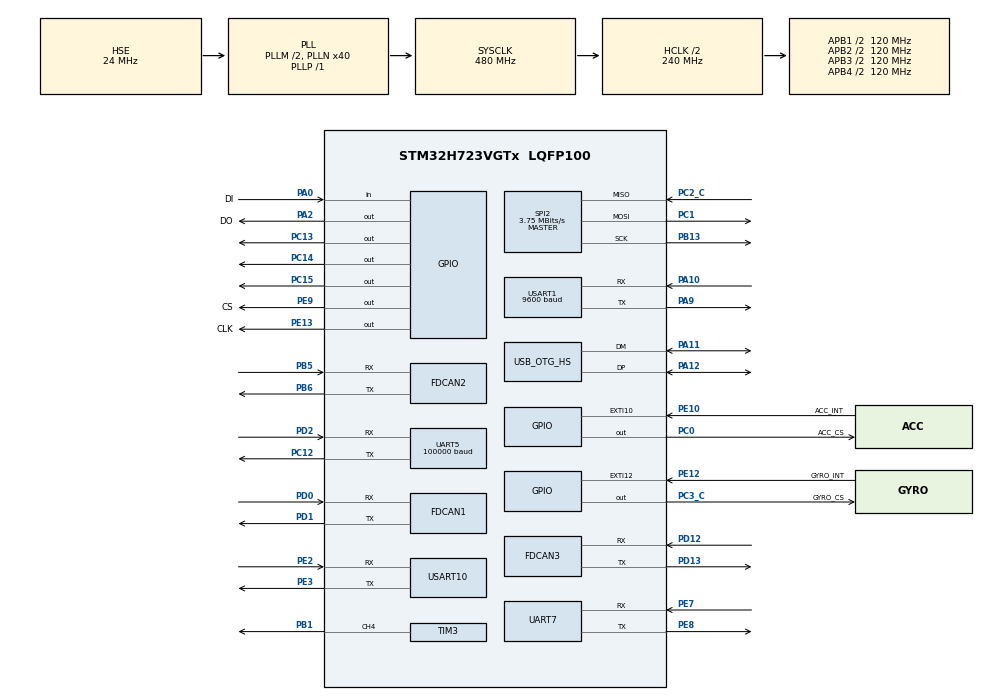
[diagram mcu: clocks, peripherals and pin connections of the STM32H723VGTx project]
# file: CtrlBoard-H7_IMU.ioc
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Dma.Request0=SPI2_RX
Dma.Request1=SPI2_TX
Dma.Request2=USART1_RX
Dma.Request3=USART1_TX
Dma.Request4=UART5_RX
Dma.Request5=UART7_RX
Dma.SPI2_RX.0.Direction=DMA_PERIPH_TO_MEMORY
Dma.SPI2_RX.0.EventEnable=DISABLE
Dma.SPI2_RX.0.FIFOMode=DMA_FIFOMODE_DISABLE
Dma.SPI2_RX.0.Instance=DMA1_Stream0
Dma.SPI2_RX.0.MemDataAlignment=DMA_MDATAALIGN_BYTE
Dma.SPI2_RX.0.MemInc=DMA_MINC_ENABLE
Dma.SPI2_RX.0.Mode=DMA_NORMAL
Dma.SPI2_RX.0.PeriphDataAlignment=DMA_PDATAALIGN_BYTE
Dma.SPI2_RX.0.PeriphInc=DMA_PINC_DISABLE
Dma.SPI2_RX.0.Polarity=HAL_DMAMUX_REQ_GEN_RISING
Dma.SPI2_RX.0.Priority=DMA_PRIORITY_VERY_HIGH
Dma.SPI2_RX.0.RequestNumber=1
Dma.SPI2_RX.0.SignalID=NONE
Dma.SPI2_RX.0.SyncEnable=DISABLE
Dma.SPI2_RX.0.SyncPolarity=HAL_DMAMUX_SYNC_NO_EVENT
Dma.SPI2_RX.0.SyncRequestNumber=1
Dma.SPI2_RX.0.SyncSignalID=NONE
Dma.SPI2_TX.1.Direction=DMA_MEMORY_TO_PERIPH
Dma.SPI2_TX.1.EventEnable=DISABLE
Dma.SPI2_TX.1.FIFOMode=DMA_FIFOMODE_DISABLE
Dma.SPI2_TX.1.Instance=DMA1_Stream1
Dma.SPI2_TX.1.MemDataAlignment=DMA_MDATAALIGN_BYTE
Dma.SPI2_TX.1.MemInc=DMA_MINC_ENABLE
Dma.SPI2_TX.1.Mode=DMA_NORMAL
Dma.SPI2_TX.1.PeriphDataAlignment=DMA_PDATAALIGN_BYTE
Dma.SPI2_TX.1.PeriphInc=DMA_PINC_DISABLE
Dma.SPI2_TX.1.Polarity=HAL_DMAMUX_REQ_GEN_RISING
Dma.SPI2_TX.1.Priority=DMA_PRIORITY_HIGH
Dma.SPI2_TX.1.RequestNumber=1
Dma.SPI2_TX.1.SignalID=NONE
Dma.SPI2_TX.1.SyncEnable=DISABLE
Dma.SPI2_TX.1.SyncPolarity=HAL_DMAMUX_SYNC_NO_EVENT
Dma.SPI2_TX.1.SyncRequestNumber=1
Dma.SPI2_TX.1.SyncSignalID=NONE
Dma.UART5_RX.4.Direction=DMA_PERIPH_TO_MEMORY
Dma.UART5_RX.4.EventEnable=DISABLE
Dma.UART5_RX.4.FIFOMode=DMA_FIFOMODE_DISABLE
Dma.UART5_RX.4.Instance=DMA1_Stream4
Dma.UART5_RX.4.MemDataAlignment=DMA_MDATAALIGN_BYTE
Dma.UART5_RX.4.MemInc=DMA_MINC_ENABLE
Dma.UART5_RX.4.Mode=DMA_NORMAL
Dma.UART5_RX.4.PeriphDataAlignment=DMA_PDATAALIGN_BYTE
Dma.UART5_RX.4.PeriphInc=DMA_PINC_DISABLE
Dma.UART5_RX.4.Polarity=HAL_DMAMUX_REQ_GEN_RISING
Dma.UART5_RX.4.Priority=DMA_PRIORITY_LOW
Dma.UART5_RX.4.RequestNumber=1
Dma.UART5_RX.4.SignalID=NONE
Dma.UART5_RX.4.SyncEnable=DISABLE
Dma.UART5_RX.4.SyncPolarity=HAL_DMAMUX_SYNC_NO_EVENT
Dma.UART5_RX.4.SyncRequestNumber=1
Dma.UART5_RX.4.SyncSignalID=NONE
Dma.UART7_RX.5.Direction=DMA_PERIPH_TO_MEMORY
Dma.UART7_RX.5.EventEnable=DISABLE
Dma.UART7_RX.5.FIFOMode=DMA_FIFOMODE_DISABLE
Dma.UART7_RX.5.Instance=DMA1_Stream5
Dma.UART7_RX.5.MemDataAlignment=DMA_MDATAALIGN_BYTE
Dma.UART7_RX.5.MemInc=DMA_MINC_ENABLE
Dma.UART7_RX.5.Mode=DMA_NORMAL
Dma.UART7_RX.5.PeriphDataAlignment=DMA_PDATAALIGN_BYTE
Dma.UART7_RX.5.PeriphInc=DMA_PINC_DISABLE
Dma.UART7_RX.5.Polarity=HAL_DMAMUX_REQ_GEN_RISING
Dma.UART7_RX.5.Priority=DMA_PRIORITY_LOW
Dma.UART7_RX.5.RequestNumber=1
Dma.UART7_RX.5.SignalID=NONE
Dma.UART7_RX.5.SyncEnable=DISABLE
Dma.UART7_RX.5.SyncPolarity=HAL_DMAMUX_SYNC_NO_EVENT
Dma.UART7_RX.5.SyncRequestNumber=1
Dma.UART7_RX.5.SyncSignalID=NONE
Dma.USART1_RX.2.Direction=DMA_PERIPH_TO_MEMORY
Dma.USART1_RX.2.EventEnable=DISABLE
Dma.USART1_RX.2.FIFOMode=DMA_FIFOMODE_DISABLE
Dma.USART1_RX.2.Instance=DMA1_Stream2
Dma.USART1_RX.2.MemDataAlignment=DMA_MDATAALIGN_BYTE
Dma.USART1_RX.2.MemInc=DMA_MINC_ENABLE
Dma.USART1_RX.2.Mode=DMA_NORMAL
Dma.USART1_RX.2.PeriphDataAlignment=DMA_PDATAALIGN_BYTE
Dma.USART1_RX.2.PeriphInc=DMA_PINC_DISABLE
Dma.USART1_RX.2.Polarity=HAL_DMAMUX_REQ_GEN_RISING
Dma.USART1_RX.2.Priority=DMA_PRIORITY_LOW
Dma.USART1_RX.2.RequestNumber=1
Dma.USART1_RX.2.SignalID=NONE
Dma.USART1_RX.2.SyncEnable=DISABLE
Dma.USART1_RX.2.SyncPolarity=HAL_DMAMUX_SYNC_NO_EVENT
Dma.USART1_RX.2.SyncRequestNumber=1
Dma.USART1_RX.2.SyncSignalID=NONE
Dma.USART1_TX.3.Direction=DMA_MEMORY_TO_PERIPH
Dma.USART1_TX.3.EventEnable=DISABLE
Dma.USART1_TX.3.FIFOMode=DMA_FIFOMODE_DISABLE
Dma.USART1_TX.3.Instance=DMA1_Stream3
Dma.USART1_TX.3.MemDataAlignment=DMA_MDATAALIGN_BYTE
Dma.USART1_TX.3.MemInc=DMA_MINC_ENABLE
Dma.USART1_TX.3.Mode=DMA_NORMAL
Dma.USART1_TX.3.PeriphDataAlignment=DMA_PDATAALIGN_BYTE
Dma.USART1_TX.3.PeriphInc=DMA_PINC_DISABLE
Dma.USART1_TX.3.Polarity=HAL_DMAMUX_REQ_GEN_RISING
Dma.USART1_TX.3.Priority=DMA_PRIORITY_LOW
Dma.USART1_TX.3.RequestNumber=1
Dma.USART1_TX.3.SignalID=NONE
Dma.USART1_TX.3.SyncEnable=DISABLE
Dma.USART1_TX.3.SyncPolarity=HAL_DMAMUX_SYNC_NO_EVENT
Dma.USART1_TX.3.SyncRequestNumber=1
Dma.USART1_TX.3.SyncSignalID=NONE
FDCAN1.CalculateBaudRateNominal=1000000
FDCAN1.CalculateTimeBitNominal=1000
FDCAN1.CalculateTimeQuantumNominal=40.0
FDCAN1.DataPrescaler=4
FDCAN1.DataTimeSeg1=19
FDCAN1.DataTimeSeg2=5
FDCAN1.ExtFiltersNbr=5
FDCAN1.NominalPrescaler=4
FDCAN1.NominalTimeSeg1=19
FDCAN1.NominalTimeSeg2=5
FDCAN1.RxFifo0ElmtSize=FDCAN_DATA_BYTES_24
FDCAN1.RxFifo0ElmtsNbr=4
FDCAN1.RxFifo1ElmtSize=FDCAN_DATA_BYTES_24
FDCAN1.StdFiltersNbr=5
FDCAN1.TxElmtSize=FDCAN_DATA_BYTES_24
FDCAN1.TxFifoQueueElmtsNbr=8
FDCAN2.CalculateBaudRateNominal=1000000
FDCAN2.CalculateTimeBitNominal=1000
FDCAN2.CalculateTimeQuantumNominal=50.0
FDCAN2.DataPrescaler=5
FDCAN2.DataTimeSeg1=14
FDCAN2.DataTimeSeg2=5
FDCAN2.ExtFiltersNbr=5
FDCAN2.MessageRAMOffset=854
FDCAN2.NominalPrescaler=5
FDCAN2.NominalTimeSeg1=14
FDCAN2.NominalTimeSeg2=5
FDCAN2.RxFifo1ElmtSize=FDCAN_DATA_BYTES_24
FDCAN2.RxFifo1ElmtsNbr=4
FDCAN2.StdFiltersNbr=5
FDCAN2.TxElmtSize=FDCAN_DATA_BYTES_16
FDCAN2.TxFifoQueueElmtsNbr=4
FDCAN3.CalculateBaudRateNominal=1000000
FDCAN3.CalculateTimeBitNominal=1000
FDCAN3.CalculateTimeQuantumNominal=50.0
FDCAN3.DataPrescaler=5
FDCAN3.DataTimeSeg1=14
FDCAN3.DataTimeSeg2=5
FDCAN3.ExtFiltersNbr=5
FDCAN3.MessageRAMOffset=1709
FDCAN3.NominalPrescaler=5
FDCAN3.NominalTimeSeg1=14
FDCAN3.NominalTimeSeg2=5
FDCAN3.RxFifo0ElmtsNbr=2
FDCAN3.StdFiltersNbr=5
FDCAN3.TxFifoQueueElmtsNbr=3
FREERTOS.MEMORY_ALLOCATION=0
FREERTOS.Tasks01=defaultTask,0,128,StartDefaultTask,Default,NULL,Dynamic,NULL,NULL;INS_TASK,3,512,INS_Task,Default,NULL,Dynamic,NULL,NULL;CHASSISR_TASK,1,512,ChassisR_Task,Default,NULL,Dynamic,NULL,NULL
FREERTOS.configENABLE_FPU=1
FREERTOS.configTOTAL_HEAP_SIZE=30720
Mcu.Family=STM32H7
Mcu.Name=STM32H723VGTx
Mcu.Package=LQFP100
NVIC.DMA1_Stream0_IRQn=true\:6\:0\:true\:false\:true\:true\:false\:true\:true
NVIC.DMA1_Stream1_IRQn=true\:6\:0\:true\:false\:true\:true\:false\:true\:true
NVIC.DMA1_Stream2_IRQn=true\:5\:0\:false\:false\:true\:true\:false\:true\:true
NVIC.DMA1_Stream3_IRQn=true\:5\:0\:false\:false\:true\:true\:false\:true\:true
NVIC.DMA1_Stream4_IRQn=true\:5\:0\:false\:false\:true\:true\:false\:true\:true
NVIC.DMA1_Stream5_IRQn=true\:5\:0\:false\:false\:true\:true\:false\:true\:true
NVIC.FDCAN1_IT0_IRQn=true\:6\:0\:true\:false\:true\:true\:true\:true\:true
NVIC.FDCAN2_IT0_IRQn=true\:5\:0\:true\:false\:true\:true\:true\:true\:true
NVIC.FDCAN3_IT0_IRQn=true\:5\:0\:false\:false\:true\:true\:true\:true\:true
NVIC.OTG_HS_IRQn=true\:5\:0\:false\:false\:true\:true\:true\:true\:true
NVIC.PriorityGroup=NVIC_PRIORITYGROUP_4
NVIC.SPI2_IRQn=true\:5\:0\:true\:false\:true\:true\:false\:true\:true
NVIC.TIM2_IRQn=true\:15\:0\:false\:false\:true\:false\:false\:true\:true
NVIC.TimeBase=TIM2_IRQn
NVIC.TimeBaseIP=TIM2
NVIC.UART5_IRQn=true\:5\:0\:true\:false\:true\:true\:true\:true\:true
NVIC.UART7_IRQn=true\:5\:0\:false\:false\:true\:true\:true\:true\:true
NVIC.USART1_IRQn=true\:5\:0\:false\:false\:true\:true\:true\:true\:true
PA0.GPIO_Label=DI
PA0.GPIO_PuPd=GPIO_PULLUP
PA0.Signal=GPIO_Input
PA10.Mode=Asynchronous
PA10.Signal=USART1_RX
PA11.Mode=Device_Only_FS
PA11.Signal=USB_OTG_HS_DM
PA12.Mode=Device_Only_FS
PA12.Signal=USB_OTG_HS_DP
PA13(JTMS/SWDIO).Mode=Serial_Wire
PA13(JTMS/SWDIO).Signal=DEBUG_JTMS-SWDIO
PA14(JTCK/SWCLK).Mode=Serial_Wire
PA14(JTCK/SWCLK).Signal=DEBUG_JTCK-SWCLK
PA2.GPIO_Label=DO
PA2.GPIO_PuPd=GPIO_PULLUP
PA2.GPIO_Speed=GPIO_SPEED_FREQ_VERY_HIGH
PA2.PinState=GPIO_PIN_SET
PA2.Signal=GPIO_Output
PA9.Mode=Asynchronous
PA9.Signal=USART1_TX
PB1.Signal=S_TIM3_CH4
PB13.GPIO_Speed=GPIO_SPEED_FREQ_VERY_HIGH
PB13.Mode=Full_Duplex_Master
PB13.Signal=SPI2_SCK
PB5.Mode=FDCAN_Activate
PB5.Signal=FDCAN2_RX
PB6.Mode=FDCAN_Activate
PB6.Signal=FDCAN2_TX
PC0.GPIO_Label=ACC_CS
PC0.GPIO_Speed=GPIO_SPEED_FREQ_VERY_HIGH
PC0.PinState=GPIO_PIN_SET
PC0.Signal=GPIO_Output
PC1.GPIO_Speed=GPIO_SPEED_FREQ_VERY_HIGH
PC1.Mode=Full_Duplex_Master
PC1.Signal=SPI2_MOSI
PC12.Mode=Asynchronous
PC12.Signal=UART5_TX
PC13.Signal=GPIO_Output
PC14-OSC32_IN.Signal=GPIO_Output
PC15-OSC32_OUT.Signal=GPIO_Output
PC2_C.GPIO_Speed=GPIO_SPEED_FREQ_VERY_HIGH
PC2_C.Mode=Full_Duplex_Master
PC2_C.Signal=SPI2_MISO
PC3_C.GPIO_Label=GYRO_CS
PC3_C.GPIO_Speed=GPIO_SPEED_FREQ_VERY_HIGH
PC3_C.PinState=GPIO_PIN_SET
PC3_C.Signal=GPIO_Output
PD0.Mode=FDCAN_Activate
PD0.Signal=FDCAN1_RX
PD1.Mode=FDCAN_Activate
PD1.Signal=FDCAN1_TX
PD12.Mode=FDCAN_Activate
PD12.Signal=FDCAN3_RX
PD13.Mode=FDCAN_Activate
PD13.Signal=FDCAN3_TX
PD2.Mode=Asynchronous
PD2.Signal=UART5_RX
PE10.GPIO_Label=ACC_INT
PE10.Signal=GPXTI10
PE12.GPIO_Label=GYRO_INT
PE12.Signal=GPXTI12
PE13.GPIO_Label=CLK
PE13.GPIO_PuPd=GPIO_PULLUP
PE13.GPIO_Speed=GPIO_SPEED_FREQ_VERY_HIGH
PE13.PinState=GPIO_PIN_SET
PE13.Signal=GPIO_Output
PE2.Mode=Asynchronous
PE2.Signal=USART10_RX
PE3.Mode=Asynchronous
PE3.Signal=USART10_TX
PE7.Mode=Asynchronous
PE7.Signal=UART7_RX
PE8.Mode=Asynchronous
PE8.Signal=UART7_TX
PE9.GPIO_Label=CS
PE9.GPIO_PuPd=GPIO_PULLUP
PE9.GPIO_Speed=GPIO_SPEED_FREQ_VERY_HIGH
PE9.PinState=GPIO_PIN_SET
PE9.Signal=GPIO_Output
PH0-OSC_IN.Mode=HSE-External-Oscillator
PH0-OSC_IN.Signal=RCC_OSC_IN
PH1-OSC_OUT.Mode=HSE-External-Oscillator
PH1-OSC_OUT.Signal=RCC_OSC_OUT
ProjectManager.HeapSize=0x200
ProjectManager.StackSize=0x800
ProjectManager.TargetToolchain=MDK-ARM V5.27
RCC.ADCFreq_Value=100000000
RCC.APB1Freq_Value=120000000
RCC.APB2Freq_Value=120000000
RCC.APB3Freq_Value=120000000
RCC.APB4Freq_Value=120000000
RCC.CortexFreq_Value=480000000
RCC.D1PPRE=RCC_APB3_DIV2
RCC.D2PPRE1=RCC_APB1_DIV2
RCC.D2PPRE2=RCC_APB2_DIV2
RCC.D3PPRE=RCC_APB4_DIV2
RCC.DIVM1=2
RCC.DIVM2=24
RCC.DIVN1=40
RCC.DIVN2=200
RCC.DIVP1=1
RCC.DIVQ1=4
RCC.FDCANCLockSelection=RCC_FDCANCLKSOURCE_PLL2
RCC.HCLKFreq_Value=240000000
RCC.HPRE=RCC_HCLK_DIV2
RCC.HSE_VALUE=24000000
RCC.PLL2FRACN=0
RCC.PLL3FRACN=0
RCC.PLLFRACN=0
RCC.PLLSourceVirtual=RCC_PLLSOURCE_HSE
RCC.SYSCLKFreq_VALUE=480000000
RCC.SYSCLKSource=RCC_SYSCLKSOURCE_PLLCLK
RCC.USBCLockSelection=RCC_USBCLKSOURCE_HSI48
RCC.USBFreq_Value=48000000
SH.S_TIM3_CH4.0=TIM3_CH4,PWM Generation4 CH4
SPI2.BaudRatePrescaler=SPI_BAUDRATEPRESCALER_32
SPI2.CLKPhase=SPI_PHASE_2EDGE
SPI2.CLKPolarity=SPI_POLARITY_HIGH
SPI2.CalculateBaudRate=3.75 MBits/s
SPI2.DataSize=SPI_DATASIZE_8BIT
SPI2.Direction=SPI_DIRECTION_2LINES
SPI2.Mode=SPI_MODE_MASTER
SPI2.VirtualType=VM_MASTER
TIM3.AutoReloadPreload=TIM_AUTORELOAD_PRELOAD_ENABLE
TIM3.Channel-PWM\ Generation4\ CH4=TIM_CHANNEL_4
TIM3.Period=10000-1
TIM3.Prescaler=24-1
UART5.BaudRate=100000
UART5.DMADisableonRxErrorParam=UART_ADVFEATURE_DMA_DISABLEONRXERROR
UART5.DataInvertParam=UART_ADVFEATURE_DATAINV_DISABLE
UART5.OverrunDisableParam=UART_ADVFEATURE_OVERRUN_DISABLE
UART5.Parity=PARITY_EVEN
UART5.RxPinLevelInvertParam=UART_ADVFEATURE_RXINV_DISABLE
UART5.StopBits=UART_STOPBITS_2
UART5.WordLength=WORDLENGTH_9B
UART7.DMADisableonRxErrorParam=UART_ADVFEATURE_DMA_DISABLEONRXERROR
UART7.OverrunDisableParam=UART_ADVFEATURE_OVERRUN_DISABLE
USART1.BaudRate=9600
USART1.VirtualMode-Asynchronous=VM_ASYNC
USART10.VirtualMode=VM_ASYNC
USB_DEVICE.CLASS_NAME_HS=CDC
USB_DEVICE.VirtualMode=Cdc
USB_DEVICE.VirtualModeHS=Cdc_HS
USB_OTG_HS.VirtualMode-Device_Only_FS=Device_Only_FS
VP_FREERTOS_VS_CMSIS_V1.Mode=CMSIS_V1
VP_MEMORYMAP_VS_MEMORYMAP.Mode=CurAppReg
VP_SYS_VS_tim2.Mode=TIM2
VP_USB_DEVICE_VS_USB_DEVICE_CDC_HS.Mode=CDC_HS
board=custom

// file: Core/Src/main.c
/* USER CODE BEGIN Header */
/**
  ******************************************************************************
  * @file           : main.c
  * @brief          : Main program body
  ******************************************************************************
  * @attention
  *
  * Copyright (c) 2024 STMicroelectronics.
  * All rights reserved.
  *
  * This software is licensed under terms that can be found in the LICENSE file
  * in the root directory of this software component.
  * If no LICENSE file comes with this software, it is provided AS-IS.
  *
  ******************************************************************************
  */
/* USER CODE END Header */
#include "main.h"
#include "cmsis_os.h"
#include "dma.h"
#include "fdcan.h"
#include "memorymap.h"
#include "spi.h"
#include "tim.h"
#include "usart.h"
#include "usb_device.h"
#include "gpio.h"

/* USER CODE BEGIN Includes */
#include "BMI088driver.h"
#include "kalman_filter.h"
#include "mahony_filter.h"
#include "bsp_dwt.h"
#include "BMI088Middleware.h"
#include "can_bsp.h"
#include "bsp_usart1.h"
#include "bsp_sbus.h"
#include "bsp_openmv.h"
#include "bsp_vofa.h"
/* USER CODE END Includes */

/* USER CODE BEGIN PTD */
extern rev_data_t rev_data;
/* USER CODE END PTD */

void SystemClock_Config(void);
void PeriphCommonClock_Config(void);
void MX_FREERTOS_Init(void);

int main(void)
{

  /* MCU Configuration--------------------------------------------------------*/

  /* Reset of all peripherals, Initializes the Flash interface and the Systick. */
  HAL_Init();

  /* USER CODE BEGIN Init */
//06 01 00 00 00 00 00 00 00 00 00 00 00 00 80 3F
  /* USER CODE END Init */

  /* Configure the system clock */
  SystemClock_Config();

  /* Configure the peripherals common clocks */
  PeriphCommonClock_Config();

  /* Initialize all configured peripherals */
  MX_GPIO_Init();
  MX_DMA_Init();
  MX_SPI2_Init();
  MX_FDCAN1_Init();
  MX_FDCAN2_Init();
  MX_TIM3_Init();
  MX_FDCAN3_Init();
  MX_USART1_UART_Init();
  MX_UART5_Init();
  MX_UART7_Init();
  MX_USART10_UART_Init();
  /* USER CODE BEGIN 2 */
  DWT_Init(480);

    /* BMI088 */
  while (BMI088_init(&hspi2, 0) != BMI088_NO_ERROR)
	{
	  ;
	}

   //HAL_UART_Receive_IT(&huart1,rev_data.rx, 8);//蓝牙中断串口1

    vofa_init();
    open_5v_on();  //外部5V
    SBUS_IT_Open();  //串口DMA中断打开串口5

    //openmv_init(); //openmv串口打开

	Power_OUT1_ON;//imu
	Power_OUT2_ON;

    FDCAN1_Config();//can
	FDCAN2_Config();
  /* USER CODE END 2 */

  /* Call init function for freertos objects (in cmsis_os2.c) */
  MX_FREERTOS_Init();

  /* Start scheduler */
  osKernelStart();

  /* We should never get here as control is now taken by the scheduler */

  /* Infinite loop */
  while (1)
  {

  }
}

void SystemClock_Config(void)
{
  RCC_OscInitTypeDef RCC_OscInitStruct = {0};
  RCC_ClkInitTypeDef RCC_ClkInitStruct = {0};

  /** Supply configuration update enable
  */
  HAL_PWREx_ConfigSupply(PWR_LDO_SUPPLY);

  /** Configure the main internal regulator output voltage
  */
  __HAL_PWR_VOLTAGESCALING_CONFIG(PWR_REGULATOR_VOLTAGE_SCALE0);

  while(!__HAL_PWR_GET_FLAG(PWR_FLAG_VOSRDY)) {}

  /** Initializes the RCC Oscillators according to the specified parameters
  * in the RCC_OscInitTypeDef structure.
  */
  RCC_OscInitStruct.OscillatorType = RCC_OSCILLATORTYPE_HSI48|RCC_OSCILLATORTYPE_HSE;
  RCC_OscInitStruct.HSEState = RCC_HSE_ON;
  RCC_OscInitStruct.HSI48State = RCC_HSI48_ON;
  RCC_OscInitStruct.PLL.PLLState = RCC_PLL_ON;
  RCC_OscInitStruct.PLL.PLLSource = RCC_PLLSOURCE_HSE;
  RCC_OscInitStruct.PLL.PLLM = 2;
  RCC_OscInitStruct.PLL.PLLN = 40;
  RCC_OscInitStruct.PLL.PLLP = 1;
  RCC_OscInitStruct.PLL.PLLQ = 4;
  RCC_OscInitStruct.PLL.PLLR = 2;
  RCC_OscInitStruct.PLL.PLLRGE = RCC_PLL1VCIRANGE_3;
  RCC_OscInitStruct.PLL.PLLVCOSEL = RCC_PLL1VCOWIDE;
  RCC_OscInitStruct.PLL.PLLFRACN = 0;
  if (HAL_RCC_OscConfig(&RCC_OscInitStruct) != HAL_OK)
  {
    Error_Handler();
  }

  /** Initializes the CPU, AHB and APB buses clocks
  */
  RCC_ClkInitStruct.ClockType = RCC_CLOCKTYPE_HCLK|RCC_CLOCKTYPE_SYSCLK
                              |RCC_CLOCKTYPE_PCLK1|RCC_CLOCKTYPE_PCLK2
                              |RCC_CLOCKTYPE_D3PCLK1|RCC_CLOCKTYPE_D1PCLK1;
  RCC_ClkInitStruct.SYSCLKSource = RCC_SYSCLKSOURCE_PLLCLK;
  RCC_ClkInitStruct.SYSCLKDivider = RCC_SYSCLK_DIV1;
  RCC_ClkInitStruct.AHBCLKDivider = RCC_HCLK_DIV2;
  RCC_ClkInitStruct.APB3CLKDivider = RCC_APB3_DIV2;
  RCC_ClkInitStruct.APB1CLKDivider = RCC_APB1_DIV2;
  RCC_ClkInitStruct.APB2CLKDivider = RCC_APB2_DIV2;
  RCC_ClkInitStruct.APB4CLKDivider = RCC_APB4_DIV2;

  if (HAL_RCC_ClockConfig(&RCC_ClkInitStruct, FLASH_LATENCY_3) != HAL_OK)
  {
    Error_Handler();
  }
}

void PeriphCommonClock_Config(void)
{
  RCC_PeriphCLKInitTypeDef PeriphClkInitStruct = {0};

  /** Initializes the peripherals clock
  */
  PeriphClkInitStruct.PeriphClockSelection = RCC_PERIPHCLK_FDCAN;
  PeriphClkInitStruct.PLL2.PLL2M = 24;
  PeriphClkInitStruct.PLL2.PLL2N = 200;
  PeriphClkInitStruct.PLL2.PLL2P = 2;
  PeriphClkInitStruct.PLL2.PLL2Q = 2;
  PeriphClkInitStruct.PLL2.PLL2R = 2;
  PeriphClkInitStruct.PLL2.PLL2RGE = RCC_PLL2VCIRANGE_0;
  PeriphClkInitStruct.PLL2.PLL2VCOSEL = RCC_PLL2VCOMEDIUM;
  PeriphClkInitStruct.PLL2.PLL2FRACN = 0;
  PeriphClkInitStruct.FdcanClockSelection = RCC_FDCANCLKSOURCE_PLL2;
  if (HAL_RCCEx_PeriphCLKConfig(&PeriphClkInitStruct) != HAL_OK)
  {
    Error_Handler();
  }
}

void HAL_TIM_PeriodElapsedCallback(TIM_HandleTypeDef *htim)
{
  if (htim->Instance == TIM2) {
    HAL_IncTick();
  }
}

void Error_Handler(void)
{
  __disable_irq();
  while (1)
  {
  }
}

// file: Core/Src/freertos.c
/* USER CODE BEGIN Header */
/**
  ******************************************************************************
  * File Name          : freertos.c
  * Description        : Code for freertos applications
  ******************************************************************************
  * @attention
  *
  * Copyright (c) 2024 STMicroelectronics.
  * All rights reserved.
  *
  * This software is licensed under terms that can be found in the LICENSE file
  * in the root directory of this software component.
  * If no LICENSE file comes with this software, it is provided AS-IS.
  *
  ******************************************************************************
  */
/* USER CODE END Header */

#include "FreeRTOS.h"
#include "task.h"
#include "main.h"
#include "cmsis_os.h"

/* USER CODE BEGIN Includes */
#include "INS_task.h"
#include "chassisR_task.h"
#include "chassisL_task.h"
#include "observe_task.h"
#include "ps2_task.h"
#include "bsp_vofa.h"
/* USER CODE END Includes */

osThreadId defaultTaskHandle;
osThreadId INS_TASKHandle;
osThreadId CHASSISR_TASKHandle;

void StartDefaultTask(void const * argument);
void INS_Task(void const * argument);
void ChassisR_Task(void const * argument);

extern void MX_USB_DEVICE_Init(void);
void MX_FREERTOS_Init(void); /* (MISRA C 2004 rule 8.1) */

void MX_FREERTOS_Init(void) {

  /* Create the thread(s) */
  /* definition and creation of defaultTask */
  osThreadDef(defaultTask, StartDefaultTask, osPriorityNormal, 0, 128);
  defaultTaskHandle = osThreadCreate(osThread(defaultTask), NULL);

  /* definition and creation of INS_TASK */
  osThreadDef(INS_TASK, INS_Task, osPriorityRealtime, 0, 512);
  INS_TASKHandle = osThreadCreate(osThread(INS_TASK), NULL);

  /* definition and creation of CHASSISR_TASK */
  osThreadDef(CHASSISR_TASK, ChassisR_Task, osPriorityAboveNormal, 0, 512);
  CHASSISR_TASKHandle = osThreadCreate(osThread(CHASSISR_TASK), NULL);

}

void StartDefaultTask(void const * argument)
{
  /* init code for USB_DEVICE */
  MX_USB_DEVICE_Init();
  /* USER CODE BEGIN StartDefaultTask */
  /* Infinite loop */
  for(;;)
  {
	//vofa_start();
    osDelay(1);
  }
  /* USER CODE END StartDefaultTask */
}

void INS_Task(void const * argument)
{
  /* USER CODE BEGIN INS_Task */

  /* Infinite loop */
  for(;;)
  {
    INS_task();
  }
  /* USER CODE END INS_Task */
}

void ChassisR_Task(void const * argument)
{
  /* USER CODE BEGIN ChassisR_Task */
  /* Infinite loop */
  for(;;)
  {
    ChassisR_task();
  }
  /* USER CODE END ChassisR_Task */
}
